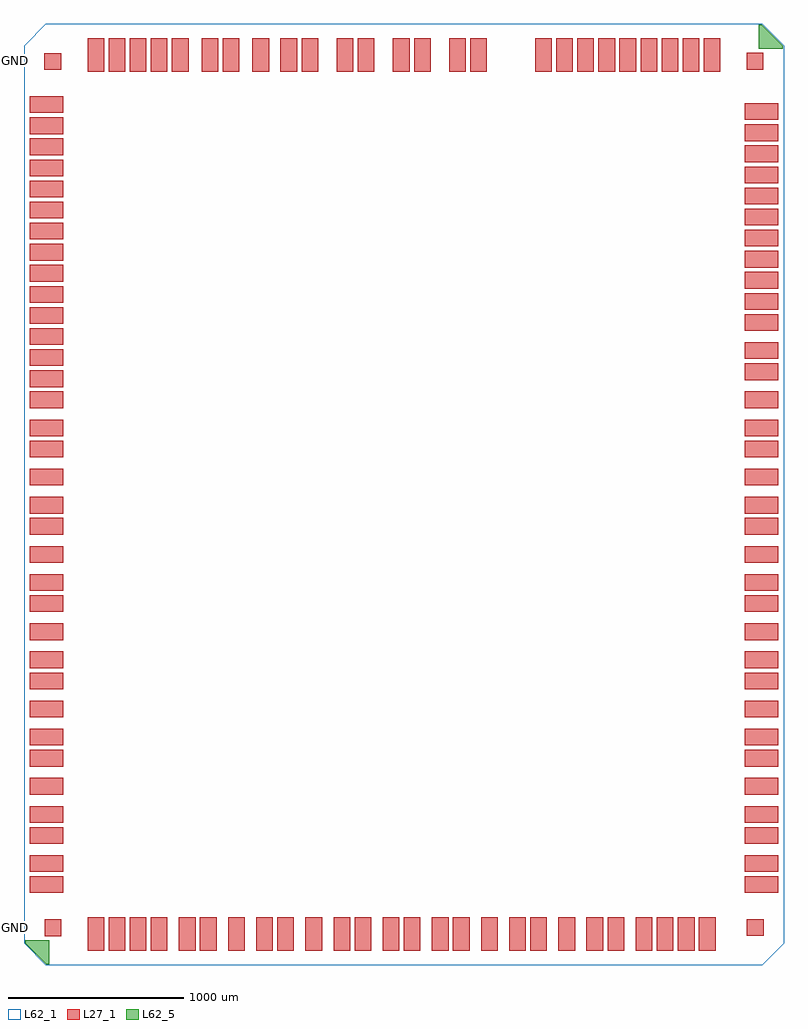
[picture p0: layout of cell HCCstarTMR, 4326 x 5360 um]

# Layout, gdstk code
import gdstk
lib = gdstk.Library(unit=1e-6, precision=1e-09)
def R(c, l, rs):  # rectangles x0, y0, x1, y1
    for r in rs: c.add(gdstk.rectangle(r[:2], r[2:], *l))
def A(c, l, x, y, w, h, nx, ny, dx, dy):  # array of equal rectangles
    R(c, l, [(x+i*dx, y+j*dy, x+i*dx+w, y+j*dy+h) for i in range(nx) for j in range(ny)])
def P(c, l, *ps):  # polygons
    for p in ps: c.add(gdstk.Polygon(p, *l))
L27_1 = (27, 1)
L62_1 = (62, 1)
L62_5 = (62, 5)

hccstartmr = lib.new_cell('HCCstarTMR')
A(hccstartmr, L27_1, 361.71, 83.59, 95, 190, 4, 1, 120, 0)
A(hccstartmr, L27_1, 1001.71, 83.59, 95, 190, 3, 1, 160, 0)
A(hccstartmr, L27_1, 1441.71, 83.59, 95, 190, 3, 1, 160, 0)
A(hccstartmr, L27_1, 2441.71, 83.59, 95, 190, 3, 1, 160, 0)
A(hccstartmr, L27_1, 2881.71, 83.59, 95, 190, 3, 1, 160, 0)
A(hccstartmr, L27_1, 3481.71, 83.59, 95, 190, 4, 1, 120, 0)
A(hccstartmr, L27_1, 33.59, 811.71, 190, 95, 1, 3, 0, 160)
A(hccstartmr, L27_1, 4102.41, 811.71, 190, 95, 1, 3, 0, 160)
A(hccstartmr, L27_1, 33.59, 1251.71, 190, 95, 1, 3, 0, 160)
A(hccstartmr, L27_1, 4102.41, 1251.71, 190, 95, 1, 3, 0, 160)
A(hccstartmr, L27_1, 33.59, 1691.71, 190, 95, 1, 3, 0, 160)
A(hccstartmr, L27_1, 4102.41, 1691.71, 190, 95, 1, 3, 0, 160)
A(hccstartmr, L27_1, 33.59, 2131.71, 190, 95, 1, 3, 0, 160)
A(hccstartmr, L27_1, 4102.41, 2131.71, 190, 95, 1, 3, 0, 160)
A(hccstartmr, L27_1, 33.59, 2571.71, 190, 95, 1, 3, 0, 160)
A(hccstartmr, L27_1, 4102.41, 2571.71, 190, 95, 1, 3, 0, 160)
A(hccstartmr, L27_1, 4102.41, 3011.71, 190, 95, 1, 3, 0, 160)
A(hccstartmr, L27_1, 33.59, 3171.71, 190, 95, 1, 15, 0, 120)
A(hccstartmr, L27_1, 4102.41, 3611.71, 190, 95, 1, 11, 0, 120)
A(hccstartmr, L27_1, 361.71, 5086.41, 95, 190, 5, 1, 120, 0)
A(hccstartmr, L27_1, 2909.42, 5086.41, 95, 190, 9, 1, 120, 0)
R(hccstartmr, L27_1, [(881.71,83.59,976.71,273.59), (1881.71,83.59,1976.71,273.59), (2041.71,83.59,2136.71,273.59), (2161.71,83.59,2256.71,273.59), (2321.71,83.59,2416.71,273.59), (3321.71,83.59,3416.71,273.59), (117.41,166.34,212.41,261.34), (4114.66,167.41,4209.66,262.41), (33.59,411.71,223.59,506.71), (4102.41,411.71,4292.41,506.71), (33.59,531.71,223.59,626.71), (4102.41,531.71,4292.41,626.71), (33.59,691.71,223.59,786.71), (4102.41,691.71,4292.41,786.71), (33.59,3011.71,223.59,3106.71), (4102.41,3451.71,4292.41,3546.71), (1010.85,5086.41,1105.85,5276.41), (1130.85,5086.41,1225.85,5276.41), (1299.99,5086.41,1394.99,5276.41), (1459.99,5086.41,1554.99,5276.41), (1579.99,5086.41,1674.99,5276.41), (1779.99,5086.41,1874.99,5276.41), (1899.99,5086.41,1994.99,5276.41), (2099.99,5086.41,2194.99,5276.41), (2219.99,5086.41,2314.99,5276.41), (2419.99,5086.41,2514.99,5276.41), (2539.99,5086.41,2634.99,5276.41), (116.34,5097.59,211.34,5192.59), (4113.59,5098.66,4208.59,5193.66)])
P(hccstartmr, L62_1, [(125,0),(0,125),(0,5235),(125,5360),(4201,5360),(4326,5235),(4326,125),(4201,0)])
P(hccstartmr, L62_5, [(126.82,7.4),(7.4,126.82),(7.4,142.91),(142.91,142.91),(142.91,7.4)],
  [(4199.18,5352.6),(4318.6,5233.18),(4318.6,5217.09),(4183.09,5217.09),(4183.09,5352.6)])
hccstartmr.add(gdstk.Label('BTC_IN_padP', (2257.355,5755.52), layer=81, texttype=20))
hccstartmr.add(gdstk.Label('BTC_IN_padN', (2134.605,5748.56), layer=81, texttype=20))
hccstartmr.add(gdstk.Label('LCB_IN_padP', (1948.005,5743.46), layer=81, texttype=20))
hccstartmr.add(gdstk.Label('LCB_IN_padN', (1811.115,5752.04), layer=81, texttype=20))
hccstartmr.add(gdstk.Label('R3L1_IN_padP', (1625.925,5754.02), layer=81, texttype=20))
hccstartmr.add(gdstk.Label('R3L1_IN_padN', (1514.465,5749.89), layer=81, texttype=20))
hccstartmr.add(gdstk.Label('BTC_OUT_padP', (4792.485,3500.61), layer=81, texttype=20))
hccstartmr.add(gdstk.Label('BTC_OUT_padN', (4792.625,3374.01), layer=81, texttype=20))
hccstartmr.add(gdstk.Label('LCB_OUT_padP', (4779.775,3060.61), layer=81, texttype=20))
hccstartmr.add(gdstk.Label('LCB_OUT_padN', (4779.915,2934.01), layer=81, texttype=20))
hccstartmr.add(gdstk.Label('R3L1_OUT_padP', (4779.775,2620.61), layer=81, texttype=20))
hccstartmr.add(gdstk.Label('R3L1_OUT_padN', (4779.915,2494.01), layer=81, texttype=20))
hccstartmr.add(gdstk.Label('BC_HYB_padP', (1363.665,-400.43), layer=81, texttype=20))
hccstartmr.add(gdstk.Label('BC_HYB_padN', (1481.405,-396.14), layer=81, texttype=20))
hccstartmr.add(gdstk.Label('LCB_HYB_padP', (2360.975,-404.79), layer=81, texttype=20))
hccstartmr.add(gdstk.Label('LCB_HYB_padN', (2481.065,-395.79), layer=81, texttype=20))
hccstartmr.add(gdstk.Label('PRLP_HYB_padP', (1822.335,-412.04), layer=81, texttype=20))
hccstartmr.add(gdstk.Label('PRLP_HYB_padN', (1944.785,-405.4), layer=81, texttype=20))
hccstartmr.add(gdstk.Label('RCLK_padP', (2800.815,-383.46), layer=81, texttype=20))
hccstartmr.add(gdstk.Label('RCLK_padN', (2932.665,-390.93), layer=81, texttype=20))
hccstartmr.add(gdstk.Label('Data1_padP', (2582.915,5736.69), layer=81, texttype=20))
hccstartmr.add(gdstk.Label('Data1_padN', (2466.005,5731.6), layer=81, texttype=20))
hccstartmr.add(gdstk.Label('DataCLK_padP', (-400.135,3060.61), layer=81, texttype=20))
hccstartmr.add(gdstk.Label('DataCLK_padN', (-400.275,2934.01), layer=81, texttype=20))
hccstartmr.add(gdstk.Label('DataIn0_padP', (4769.685,2060.01), layer=81, texttype=20))
hccstartmr.add(gdstk.Label('DataIn0_padN', (4769.545,2179.98), layer=81, texttype=20))
hccstartmr.add(gdstk.Label('DataIn1_padP', (4769.685,1620.01), layer=81, texttype=20))
hccstartmr.add(gdstk.Label('DataIn1_padN', (4769.545,1739.98), layer=81, texttype=20))
hccstartmr.add(gdstk.Label('DataIn2_padP', (4769.685,1180.01), layer=81, texttype=20))
hccstartmr.add(gdstk.Label('DataIn2_padN', (4769.545,1299.98), layer=81, texttype=20))
hccstartmr.add(gdstk.Label('DataIn3_padP', (4769.685,740.01), layer=81, texttype=20))
hccstartmr.add(gdstk.Label('DataIn3_padN', (4769.545,859.98), layer=81, texttype=20))
hccstartmr.add(gdstk.Label('DataIn4_padP', (3237.625,-395.23), layer=81, texttype=20))
hccstartmr.add(gdstk.Label('DataIn4_padN', (3362.145,-388.16), layer=81, texttype=20))
hccstartmr.add(gdstk.Label('DataIn5_padP', (916.085,-405.45), layer=81, texttype=20))
hccstartmr.add(gdstk.Label('DataIn5_padN', (1050.025,-407.79), layer=81, texttype=20))
hccstartmr.add(gdstk.Label('DataIn6_padP', (-390.045,858.41), layer=81, texttype=20))
hccstartmr.add(gdstk.Label('DataIn6_padN', (-389.905,738.44), layer=81, texttype=20))
hccstartmr.add(gdstk.Label('DataIn7_padP', (-390.045,1298.41), layer=81, texttype=20))
hccstartmr.add(gdstk.Label('DataIn7_padN', (-389.905,1178.44), layer=81, texttype=20))
hccstartmr.add(gdstk.Label('DataIn8_padP', (-390.045,1738.41), layer=81, texttype=20))
hccstartmr.add(gdstk.Label('DataIn8_padN', (-389.905,1618.44), layer=81, texttype=20))
hccstartmr.add(gdstk.Label('DataIn9_padP', (-390.045,2178.41), layer=81, texttype=20))
hccstartmr.add(gdstk.Label('DataIn9_padN', (-389.905,2058.44), layer=81, texttype=20))
hccstartmr.add(gdstk.Label('DataIn10_padP', (-390.045,2618.41), layer=81, texttype=20))
hccstartmr.add(gdstk.Label('DataIn10_padN', (-389.905,2498.44), layer=81, texttype=20))
hccstartmr.add(gdstk.Label('BG_o_pad', (-399.2,4658.405), layer=81, texttype=20))
hccstartmr.add(gdstk.Label('GP0_o_pad', (4715.27,3780.015), layer=81, texttype=20))
hccstartmr.add(gdstk.Label('GP1_o_pad', (-399.2,3338.405), layer=81, texttype=20))
hccstartmr.add(gdstk.Label('SSSH_o_pad', (4713.85,3900.015), layer=81, texttype=20))
hccstartmr.add(gdstk.Label('ABC_RSTb_o_pad', (-399.2,3578.405), layer=81, texttype=20))
hccstartmr.add(gdstk.Label('FusePP_i_pad', (1334.24,5743.825), layer=81, texttype=20))
hccstartmr.add(gdstk.Label('padID<3>', (-399.2,3938.405), layer=81, texttype=20))
hccstartmr.add(gdstk.Label('padID<2>', (-399.2,4058.405), layer=81, texttype=20))
hccstartmr.add(gdstk.Label('padID<1>', (-399.2,4178.405), layer=81, texttype=20))
hccstartmr.add(gdstk.Label('padID<0>', (-399.2,4298.405), layer=81, texttype=20))
hccstartmr.add(gdstk.Label('RSTXOR_i_pad', (-399.2,3818.405), layer=81, texttype=20))
hccstartmr.add(gdstk.Label('OutEncode_i_pad', (-399.2,3698.405), layer=81, texttype=20))
hccstartmr.add(gdstk.Label('GP0_i_pad', (4716.69,4260.015), layer=81, texttype=20))
hccstartmr.add(gdstk.Label('GP1_i_pad', (-399.2,3458.405), layer=81, texttype=20))
hccstartmr.add(gdstk.Label('LowPower_i_pad', (4759.535,4141.525), layer=81, texttype=20))
hccstartmr.add(gdstk.Label('RSTB_i_pad', (4703.035,4021.525), layer=81, texttype=20))
hccstartmr.add(gdstk.Label('CAL_i_pad', (4748.26,580.015), layer=81, texttype=20))
hccstartmr.add(gdstk.Label('Hybrid_GND_i_pad', (4768.13,4500.015), layer=81, texttype=20))
hccstartmr.add(gdstk.Label('GND', (3777.39,-275.88), layer=81, texttype=20))
hccstartmr.add(gdstk.Label('GND', (3650.38,-275.92), layer=81, texttype=20))
hccstartmr.add(gdstk.Label('GND', (642.02,-298.15), layer=81, texttype=20))
hccstartmr.add(gdstk.Label('GND', (519.71,-286.42), layer=81, texttype=20))
hccstartmr.add(gdstk.Label('GND', (3787.16,5552.47), layer=81, texttype=20))
hccstartmr.add(gdstk.Label('GND', (3671.91,5545.37), layer=81, texttype=20))
hccstartmr.add(gdstk.Label('GND', (647.08,5566.98), layer=81, texttype=20))
hccstartmr.add(gdstk.Label('GND', (534.18,5562.24), layer=81, texttype=20))
hccstartmr.add(gdstk.Label('GND', (3909.48,5559.56), layer=81, texttype=20))
hccstartmr.add(gdstk.Label('GND', (423.63,5571.6), layer=81, texttype=20))
hccstartmr.add(gdstk.Label('GND', (3307.33,5549.95), layer=81, texttype=20))
hccstartmr.add(gdstk.Label('GND', (4656,3219.21), layer=81, texttype=20))
hccstartmr.add(gdstk.Label('GND', (2650.73,-269.22), layer=81, texttype=20))
hccstartmr.add(gdstk.Label('GND', (4697.61,2339.21), layer=81, texttype=20))
hccstartmr.add(gdstk.Label('GND', (-325.31,4899.21), layer=81, texttype=20))
hccstartmr.add(gdstk.Label('GND', (-306.49,1899.21), layer=81, texttype=20))
hccstartmr.add(gdstk.Label('GND', (1644.02,-278.98), layer=81, texttype=20))
hccstartmr.add(gdstk.Label('GND', (4690.56,1459.21), layer=81, texttype=20))
hccstartmr.add(gdstk.Label('GND', (4646.11,4619.21), layer=81, texttype=20))
hccstartmr.add(gdstk.Label('GND', (-308.85,2779.21), layer=81, texttype=20))
hccstartmr.add(gdstk.Label('GND', (766.68,-305.16), layer=81, texttype=20))
hccstartmr.add(gdstk.Label('GND', (-325.32,459.21), layer=81, texttype=20))
hccstartmr.add(gdstk.Label('GND', (-334.73,4539.21), layer=81, texttype=20))
hccstartmr.add(gdstk.Label('GND', (-325.32,1019.21), layer=81, texttype=20))
hccstartmr.add(gdstk.Label('GND', (3530.41,-278.31), layer=81, texttype=20))
hccstartmr.add(gdstk.Label('GND', (2213.24,-292.89), layer=81, texttype=20))
hccstartmr.add(gdstk.Label('GND', (1201.82,-281.48), layer=81, texttype=20))
hccstartmr.add(gdstk.Label('GND', (4688.2,1899.21), layer=81, texttype=20))
hccstartmr.add(gdstk.Label('GND', (4690.56,1019.21), layer=81, texttype=20))
hccstartmr.add(gdstk.Label('GND', (2090.92,-283.52), layer=81, texttype=20))
hccstartmr.add(gdstk.Label('GND', (-306.49,2339.21), layer=81, texttype=20))
hccstartmr.add(gdstk.Label('GND', (-325.32,579.21), layer=81, texttype=20))
hccstartmr.add(gdstk.Label('GND', (4697.61,2779.21), layer=81, texttype=20))
hccstartmr.add(gdstk.Label('GND', (-308.85,3219.21), layer=81, texttype=20))
hccstartmr.add(gdstk.Label('GND', (3092.92,-264.35), layer=81, texttype=20))
hccstartmr.add(gdstk.Label('GND', (-306.49,1459.21), layer=81, texttype=20))
hccstartmr.add(gdstk.Label('GND', (4529.4,459.21), layer=81, texttype=20))
hccstartmr.add(gdstk.Label('GND', (4656,3659.21), layer=81, texttype=20))
hccstartmr.add(gdstk.Label('GND', (3072.12,5549.86), layer=81, texttype=20))
hccstartmr.add(gdstk.Label('DVDD', (-336.89,4779.05), layer=81, texttype=20))
hccstartmr.add(gdstk.Label('VDD', (3879.5,-283.08), layer=81, texttype=20))
hccstartmr.add(gdstk.Label('VDD', (410.85,-276.12), layer=81, texttype=20))
hccstartmr.add(gdstk.Label('VDD', (-353.4,4419.53), layer=81, texttype=20))
hccstartmr.add(gdstk.Label('VDD', (4643.29,4378.78), layer=81, texttype=20))
hccstartmr.add(gdstk.Label('DVDD', (4655.35,4747.72), layer=81, texttype=20))
hccstartmr.add(gdstk.Label('DVDD', (4653.04,4858.86), layer=81, texttype=20))
hccstartmr.add(gdstk.Label('DVDD', (3548.66,5549.21), layer=81, texttype=20))
hccstartmr.add(gdstk.Label('DVDD', (3428.81,5548.76), layer=81, texttype=20))
hccstartmr.add(gdstk.Label('DVDD', (3186.43,5557.16), layer=81, texttype=20))
hccstartmr.add(gdstk.Label('DVDD', (2953.6,5551.59), layer=81, texttype=20))
hccstartmr.add(gdstk.Label('VDDH_FUSE', (1181.88,5725.43), layer=81, texttype=20))
hccstartmr.add(gdstk.Label('VDDH_FUSE', (1060.01,5733.51), layer=81, texttype=20))
hccstartmr.add(gdstk.Label('DVDD', (878.49,5585.81), layer=81, texttype=20))
hccstartmr.add(gdstk.Label('DVDD', (767.91,5577.13), layer=81, texttype=20))
hccstartmr.add(gdstk.Label('GND', (-95.36,215.18), layer=81, texttype=20))
hccstartmr.add(gdstk.Label('GND', (4463.51,216.09), layer=81, texttype=20))
hccstartmr.add(gdstk.Label('GND', (4477.52,5142.57), layer=81, texttype=20))
hccstartmr.add(gdstk.Label('GND', (-133,5151.96), layer=81, texttype=20))

lib.write_gds('HCCstarTMR.gds')
